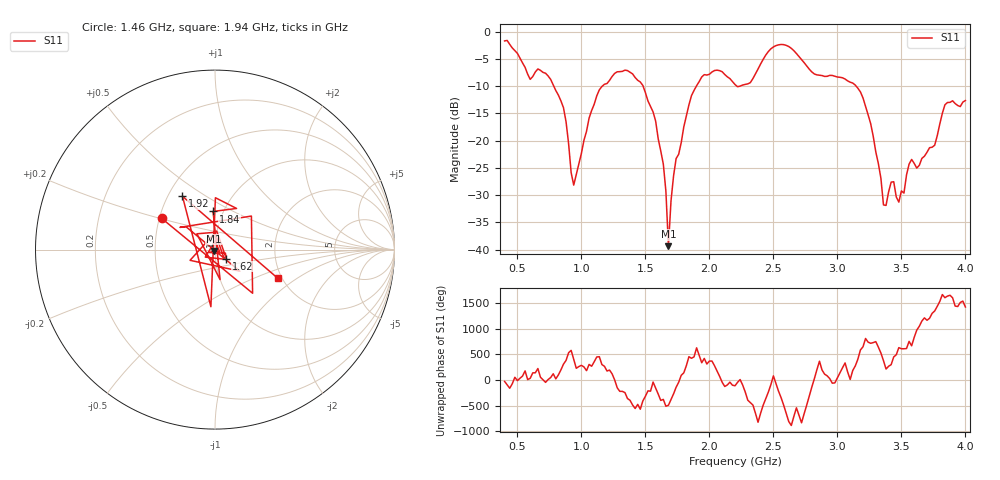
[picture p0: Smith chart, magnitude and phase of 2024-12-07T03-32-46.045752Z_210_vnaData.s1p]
!Created with skrf (http://scikit-rf.org).
# Hz S RI R 50.0
!freq ReS11 ImS11
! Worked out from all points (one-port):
!   181 points, 400 MHz to 4 GHz, reference 50 ohm
!   lowest |S11| = -39.4 dB at 1.68 GHz (marker M1), VSWR 1.02, Z = 49.3 - j0.779 ohm
!   |S11| at or under -10 dB: 784.2 MHz to 1.163 GHz (379 MHz wide, 38.9 % of centre); 1.482 GHz to 1.898 GHz (416.2 MHz wide, 24.6 % of centre); 3.147 GHz to end of sweep (the widest 3 of 4)
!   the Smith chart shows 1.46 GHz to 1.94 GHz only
!   S11 on the Smith chart (normalised r, x): 1.46 GHz: 0.51, +0.20; 1.62 GHz: 1.13, -0.11; 1.84 GHz: 0.89, +0.40; 1.92 GHz: 0.59, +0.40; 1.94 GHz: 1.90, -0.71
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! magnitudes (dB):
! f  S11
! 400 MHz  -1.7
! 600 MHz  -8.8
! 740 MHz  -8.1
! 860 MHz  -14.0
! 940 MHz  -28.1
! 1.12 GHz  -11.8
! 1.3 GHz  -7.3
! 1.46 GHz  -9.2
! 1.62 GHz  -21.9
! 1.66 GHz  -29.2
! 1.68 GHz  -39.4
! 1.72 GHz  -26.5
! 1.76 GHz  -22.5
! 1.84 GHz  -13.4
! 1.92 GHz  -9.2
! 1.94 GHz  -8.3
! 2.2 GHz  -9.7
! 2.5 GHz  -2.8
! 2.66 GHz  -3.5
! 3.1 GHz  -9.3
! 3.26 GHz  -16.9
! 3.36 GHz  -31.8
! 3.42 GHz  -27.6
! 3.48 GHz  -31.3
! 3.56 GHz  -24.3
! 3.76 GHz  -20.8
! 3.84 GHz  -13.4
! 4 GHz  -12.6
